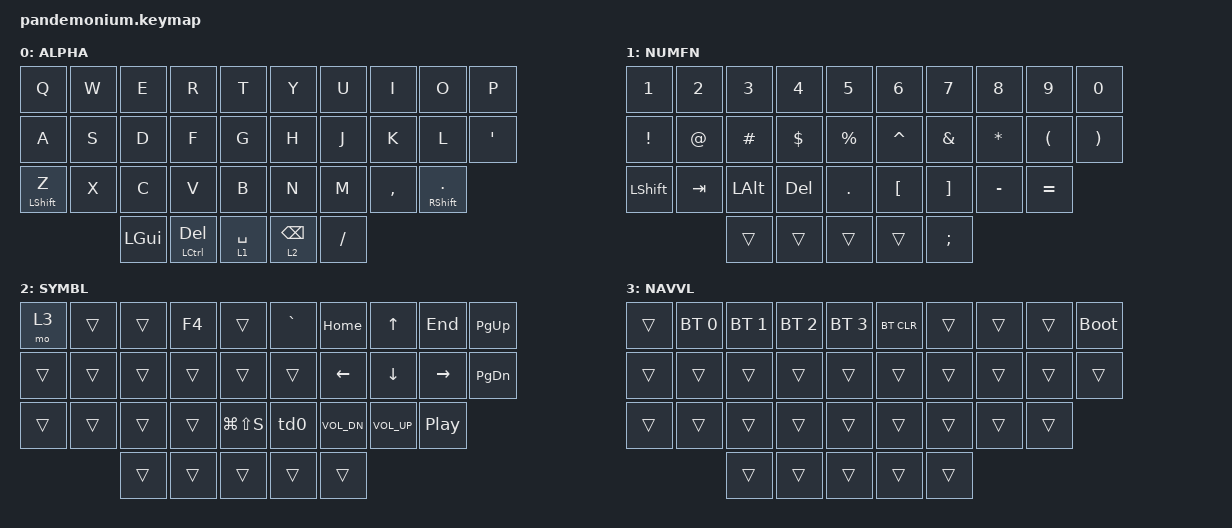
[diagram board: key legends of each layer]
/*
 * Copyright (c) 2020 The ZMK Contributors
 *
 * SPDX-License-Identifier: MIT
 */

#include <behaviors.dtsi>
#include <dt-bindings/zmk/keys.h>
#include <dt-bindings/zmk/bt.h>

#define ALPHA 0
#define NUMFN 1
#define SYMBL 2
#define NAVVL 3

/ {    combos {
        compatible = "zmk,combos";
        combo_esc {
            timeout-ms = <50>;
            key-positions = <0 1>;
            bindings = <&kp ESC>;
        };
        combo_enter {
            timeout-ms = <50>;
            key-positions = <31 32>;
            bindings = <&kp ENTER>;
        };
    };
};

/ {
    behaviors {
        td0: tap_dance_0 {
            compatible = "zmk,behavior-tap-dance";
            label = "TAP_DANCE_0";
            #binding-cells = <0>;
            tapping-term-ms = <200>;
            bindings = <&kp C_NEXT>, <&kp C_PREV>, <&kp C_MUTE>;
        };
    };
};

&lt {
    tapping-term-ms = <200>;
    quick-tap-ms = <200>;
};

/ {
    keymap {
        compatible = "zmk,keymap";

        ALPHA {
            bindings = <
                &kp Q       &kp W       &kp E       &kp R          &kp T       &kp Y       &kp U       &kp I       &kp O       &kp P
                &kp A       &kp S       &kp D       &kp F          &kp G       &kp H       &kp J       &kp K       &kp L       &kp APOS
                &mt LSHFT Z &kp X       &kp C       &kp V          &kp B       &kp N       &kp M       &kp COMMA   &mt RSHFT DOT
                                        &kp LGUI    &mt LCTRL DEL  &lt 1 SPACE &lt 2 BSPC  &kp SLASH
            >;
        };
		
        NUMFN {
            bindings = <
                &kp N1      &kp N2      &kp N3      &kp N4      &kp N5      &kp N6      &kp N7      &kp N8      &kp N9      &kp N0
                &kp EXCL    &kp AT      &kp HASH    &kp DLLR    &kp PRCNT   &kp CARET   &kp AMPS    &kp STAR    &kp LPAR    &kp RPAR
                &kp LSHFT   &kp TAB     &kp LALT    &kp DEL     &kp DOT     &kp LBKT    &kp RBKT    &kp MINUS   &kp EQUAL
                                        &trans      &trans      &trans      &trans      &kp SEMI
            >;
        };
		
        SYMBL {
            bindings = <
                &mo 3       &trans      &trans      &kp F4      &trans         &kp GRAVE      &kp HOME     &kp UP       &kp END      &kp PG_UP
                &trans      &trans      &trans      &trans      &trans         &trans         &kp LEFT     &kp DOWN     &kp RIGHT    &kp PG_DN
                &trans      &trans      &trans      &trans      &kp LG(LS(S))  &td0           &kp C_VOL_DN &kp C_VOL_UP &kp C_PP
                                        &trans      &trans      &trans         &trans         &trans
            >;
        };
		
        NAVVL {
            bindings = <
                &trans      &bt BT_SEL 0  &bt BT_SEL 1  &bt BT_SEL 2  &bt BT_SEL 3  &bt BT_CLR  &trans      &trans      &trans      &bootloader
                &trans      &trans        &trans        &trans        &trans        &trans      &trans      &trans      &trans      &trans
                &trans      &trans        &trans        &trans        &trans        &trans      &trans      &trans      &trans
                                          &trans        &trans        &trans        &trans      &trans
            >;
        };
    };
};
